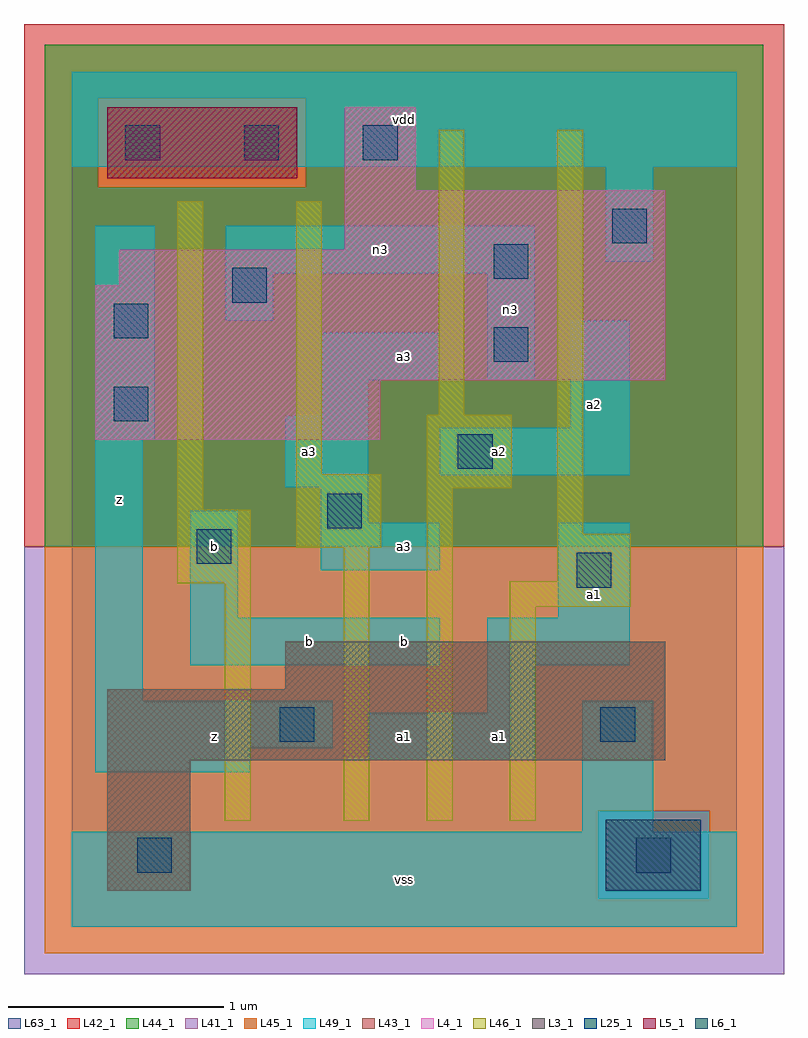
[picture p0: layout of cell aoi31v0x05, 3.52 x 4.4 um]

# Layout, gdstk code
import gdstk
lib = gdstk.Library(unit=1e-6, precision=1e-09)
def R(c, l, rs):  # rectangles x0, y0, x1, y1
    for r in rs: c.add(gdstk.rectangle(r[:2], r[2:], *l))
def A(c, l, x, y, w, h, nx, ny, dx, dy):  # array of equal rectangles
    R(c, l, [(x+i*dx, y+j*dy, x+i*dx+w, y+j*dy+h) for i in range(nx) for j in range(ny)])
L3_1 = (3, 1)
L4_1 = (4, 1)
L5_1 = (5, 1)
L6_1 = (6, 1)
L25_1 = (25, 1)
L41_1 = (41, 1)
L42_1 = (42, 1)
L43_1 = (43, 1)
L44_1 = (44, 1)
L45_1 = (45, 1)
L46_1 = (46, 1)
L49_1 = (49, 1)
L63_1 = (63, 1)

aoi31v0x05 = lib.new_cell('aoi31v0x05')
R(aoi31v0x05, L3_1, [(0.165,0.165,0.55,0.77), (0.165,0.77,2.75,1.1), (0.99,1.1,2.75,1.32)])
R(aoi31v0x05, L4_1, [(0.11,2.255,1.43,2.53), (0.11,2.53,2.75,2.97), (0.22,2.97,2.75,3.135), (1.265,3.135,2.75,3.41), (1.265,3.41,1.595,3.795)])
R(aoi31v0x05, L5_1, [(0.165,3.465,1.045,3.795)])
R(aoi31v0x05, L6_1, [(2.475,0.165,2.915,0.495)])
A(aoi31v0x05, L25_1, 0.25, 3.55, 0.16, 0.16, 3, 1, 0.55, 0)
R(aoi31v0x05, L25_1, [(0.305,0.25,0.465,0.41), (2.615,0.25,2.775,0.41), (0.965,0.855,1.125,1.015), (2.45,0.855,2.61,1.015), (2.34,1.57,2.5,1.73), (0.58,1.68,0.74,1.84), (1.185,1.845,1.345,2.005), (1.79,2.12,1.95,2.28), (0.195,2.34,0.355,2.5), (1.955,2.615,2.115,2.775), (0.195,2.725,0.355,2.885), (0.745,2.89,0.905,3.05), (1.955,3,2.115,3.16), (2.505,3.165,2.665,3.325)])
R(aoi31v0x05, L41_1, [(-0.22,-0.22,3.3,1.76)])
R(aoi31v0x05, L42_1, [(-0.22,1.76,3.3,4.18)])
R(aoi31v0x05, L43_1, [(0.165,0.165,0.55,0.77), (2.475,0.165,2.915,0.495), (0.165,0.77,2.75,1.1), (0.99,1.1,2.75,1.32), (0.11,2.255,1.43,2.53), (0.11,2.53,2.75,2.97), (0.22,2.97,2.75,3.135), (1.265,3.135,2.75,3.41), (1.265,3.41,1.595,3.795), (0.165,3.465,1.045,3.795)])
R(aoi31v0x05, L44_1, [(2.435,0.125,2.955,0.535), (-0.125,1.76,3.205,3.425), (-0.125,3.425,0.125,3.835), (1.085,3.425,3.205,3.835), (-0.125,3.835,3.205,4.085)])
R(aoi31v0x05, L45_1, [(-0.125,-0.125,3.205,0.125), (-0.125,0.125,2.435,0.535), (2.955,0.125,3.205,0.535), (-0.125,0.535,3.205,1.76), (0.125,3.425,1.085,3.835)])
R(aoi31v0x05, L46_1, [(0.71,0.49,0.83,1.59), (1.26,0.49,1.38,1.755), (1.645,0.49,1.765,2.03), (2.03,0.49,2.15,1.48), (2.03,1.48,2.59,1.6), (0.49,1.59,0.83,1.93), (2.25,1.6,2.59,1.82), (1.04,1.755,1.435,2.095), (2.25,1.82,2.37,3.69), (0.49,1.93,0.61,3.36), (1.645,2.03,2.04,2.37), (1.04,2.095,1.16,3.36), (1.7,2.37,1.82,3.69)])
R(aoi31v0x05, L49_1, [(0,0,3.08,0.44), (2.365,0.44,2.695,1.045), (0.11,0.715,0.825,0.825), (1.375,0.77,2.145,0.99), (0.11,0.825,1.21,1.045), (1.925,0.99,2.145,1.21), (0.11,1.045,0.33,2.255), (0.55,1.21,1.705,1.43), (1.925,1.21,2.585,1.43), (0.55,1.43,0.77,1.925), (2.255,1.43,2.585,1.87), (1.155,1.65,1.705,1.87), (1.155,1.87,1.375,2.035), (0.99,2.035,1.375,2.365), (1.705,2.09,2.585,2.31), (0.11,2.255,0.385,3.245), (2.31,2.31,2.585,2.805), (1.155,2.365,1.375,2.53), (1.155,2.53,1.705,2.75), (1.925,2.53,2.145,3.025), (0.715,2.805,0.935,3.025), (0.715,3.025,2.145,3.245), (2.475,3.08,2.695,3.52), (0,3.52,3.08,3.96)])
R(aoi31v0x05, L63_1, [(0,0,3.08,3.96)])
aoi31v0x05.add(gdstk.Label('z', (0.22,1.98), layer=49, texttype=1))
aoi31v0x05.add(gdstk.Label('z', (0.66,0.88), layer=49, texttype=1))
aoi31v0x05.add(gdstk.Label('b', (0.66,1.76), layer=49, texttype=1))
aoi31v0x05.add(gdstk.Label('vss', (1.54,0.22), layer=49, texttype=1))
aoi31v0x05.add(gdstk.Label('a1', (1.54,0.88), layer=49, texttype=1))
aoi31v0x05.add(gdstk.Label('b', (1.1,1.32), layer=49, texttype=1))
aoi31v0x05.add(gdstk.Label('b', (1.54,1.32), layer=49, texttype=1))
aoi31v0x05.add(gdstk.Label('a3', (1.54,1.76), layer=49, texttype=1))
aoi31v0x05.add(gdstk.Label('a3', (1.1,2.2), layer=49, texttype=1))
aoi31v0x05.add(gdstk.Label('a3', (1.54,2.64), layer=49, texttype=1))
aoi31v0x05.add(gdstk.Label('vdd', (1.54,3.74), layer=49, texttype=1))
aoi31v0x05.add(gdstk.Label('a1', (1.98,0.88), layer=49, texttype=1))
aoi31v0x05.add(gdstk.Label('a1', (2.42,1.54), layer=49, texttype=1))
aoi31v0x05.add(gdstk.Label('a2', (1.98,2.2), layer=49, texttype=1))
aoi31v0x05.add(gdstk.Label('a2', (2.42,2.42), layer=49, texttype=1))
aoi31v0x05.add(gdstk.Label('n3', (2.035,2.86), layer=49, texttype=1))
aoi31v0x05.add(gdstk.Label('n3', (1.43,3.135), layer=49, texttype=1))

lib.write_gds('aoi31v0x05.gds')
